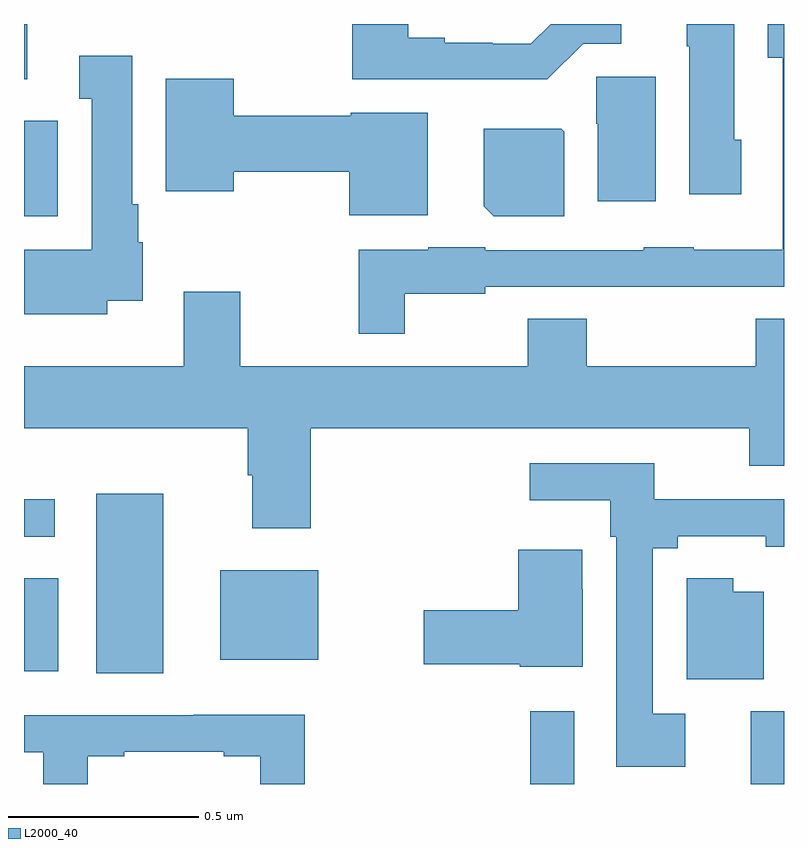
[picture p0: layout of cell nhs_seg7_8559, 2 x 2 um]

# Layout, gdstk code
import gdstk
lib = gdstk.Library(unit=1e-6, precision=1e-09)
def R(c, l, rs):  # rectangles x0, y0, x1, y1
    for r in rs: c.add(gdstk.rectangle(r[:2], r[2:], *l))
def P(c, l, *ps):  # polygons
    for p in ps: c.add(gdstk.Polygon(p, *l))
L2000_40 = (2000, 40)

nhs_seg7_8559 = lib.new_cell('nhs_seg7_8559')
R(nhs_seg7_8559, L2000_40, [(227.332,1013,227.448,1013.191), (227.912,1013,228,1013.191), (226.19,1013.291,226.366,1013.764), (226,1013.297,226.09,1013.542), (226.517,1013.327,226.774,1013.563), (226,1013.651,226.081,1013.75), (226,1014.494,226.089,1014.745), (226,1014.854,226.009,1015)])
P(nhs_seg7_8559, L2000_40, [(227.472,1014.948),(227.572,1014.948),(227.572,1015),(227.386,1015),(227.334,1014.948),(227.234,1014.948),(227.234,1014.951),(227.107,1014.951),(227.107,1014.964),(227.011,1014.964),(227.011,1015),(226.864,1015),(226.864,1014.854),(227.377,1014.854)],
  [(227.002,1014.29),(227.214,1014.29),(227.214,1014.309),(227.631,1014.309),(227.631,1014.308),(227.863,1014.308),(227.863,1014.309),(228,1014.309),(228,1015),(227.957,1015),(227.957,1014.911),(227.997,1014.911),(227.997,1014.406),(227.763,1014.406),(227.763,1014.412),(227.631,1014.412),(227.631,1014.405),(227.214,1014.405),(227.214,1014.412),(227.064,1014.412),(227.064,1014.406),(226.881,1014.406),(226.881,1014.185),(227.002,1014.185)],
  [(227.887,1014.696),(227.869,1014.696),(227.869,1015),(227.744,1015),(227.744,1014.942),(227.75,1014.942),(227.75,1014.552),(227.887,1014.552)],
  [(226.219,1014.272),(226.312,1014.272),(226.312,1014.426),(226.3,1014.426),(226.3,1014.526),(226.285,1014.526),(226.285,1014.916),(226.145,1014.916),(226.145,1014.803),(226.178,1014.803),(226.178,1014.406),(226,1014.406),(226,1014.236),(226.219,1014.236)],
  [(227.662,1014.861),(227.506,1014.861),(227.506,1014.738),(227.51,1014.738),(227.51,1014.534),(227.662,1014.534)],
  [(227.062,1014.766),(226.86,1014.766),(226.86,1014.758),(226.552,1014.758),(226.552,1014.856),(226.373,1014.856),(226.373,1014.56),(226.552,1014.56),(226.552,1014.611),(226.856,1014.611),(226.856,1014.497),(227.062,1014.497)],
  [(227.422,1014.716),(227.414,1014.724),(227.21,1014.724),(227.21,1014.52),(227.236,1014.494),(227.422,1014.494)],
  [(226.754,1013.936),(227.909,1013.936),(227.909,1013.837),(228,1013.837),(228,1014.224),(227.926,1014.224),(227.926,1014.1),(227.481,1014.1),(227.481,1014.224),(227.326,1014.224),(227.326,1014.1),(226.569,1014.1),(226.569,1014.295),(226.421,1014.295),(226.421,1014.1),(226,1014.1),(226,1013.936),(226.589,1013.936),(226.589,1013.813),(226.601,1013.813),(226.601,1013.673),(226.754,1013.673)],
  [(227.74,1013.185),(227.655,1013.185),(227.655,1013.62),(227.721,1013.62),(227.721,1013.652),(227.952,1013.652),(227.952,1013.624),(228,1013.624),(228,1013.75),(227.658,1013.75),(227.658,1013.844),(227.331,1013.844),(227.331,1013.747),(227.543,1013.747),(227.543,1013.651),(227.559,1013.651),(227.559,1013.045),(227.74,1013.045)],
  [(227.47,1013.513),(227.469,1013.513),(227.469,1013.616),(227.3,1013.616),(227.3,1013.457),(227.052,1013.457),(227.052,1013.315),(227.304,1013.315),(227.304,1013.309),(227.47,1013.309)],
  [(227.947,1013.506),(227.866,1013.506),(227.866,1013.542),(227.744,1013.542),(227.744,1013.276),(227.947,1013.276)],
  [(226.168,1013.073),(226.264,1013.073),(226.264,1013.085),(226.526,1013.085),(226.526,1013.073),(226.622,1013.073),(226.622,1013),(226.739,1013),(226.739,1013.182),(226.447,1013.182),(226.447,1013.181),(226,1013.181),(226,1013.084),(226.051,1013.084),(226.051,1013),(226.168,1013)])

lib.write_gds('nhs_seg7_8559.gds')
